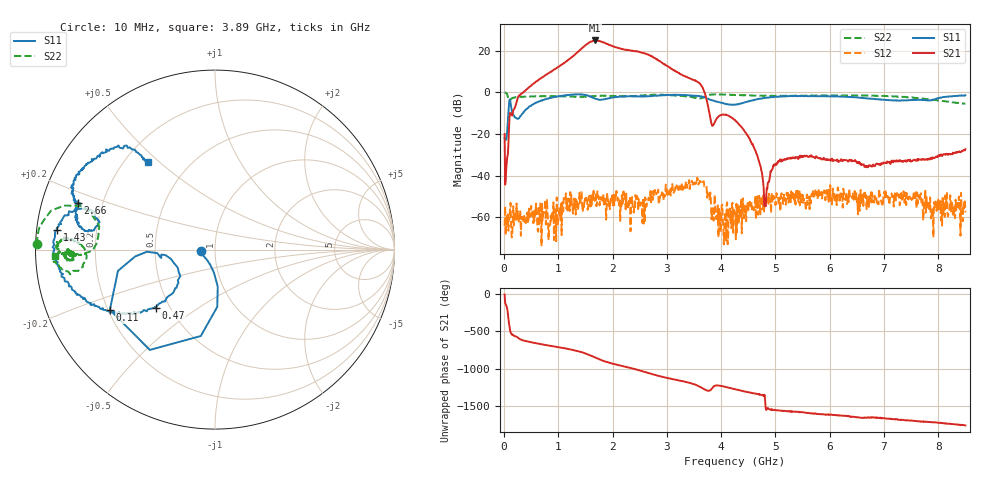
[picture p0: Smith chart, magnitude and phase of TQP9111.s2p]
! TriQuint Semiconductor
! TQP 9111 1.8  2.7 GHz 2 Watt Power Amplifier
! 20-pin 4x4 mm Leadless SMT Package
! The data is for the device in a 50 Ohm system, 2-port file de-embedded to the device leads.
! Device bias: +5V V @ 545 mA Supply Current
! Temperature: 25C
! Date: 06/25/2015
! Lot Code: N/A
!  Port 1 corresponds to Pin 2,3,4 on the TQP9111 (RF input)
!  Port 2 corresponds to Pin 12,13,14 on the TQP9111 (RF Output 2)
!  Pins 18,20 are loaded as shown on the datasheet for the PCB2600 application circuit
! All data in (dB/Angle) format
!Agilent Technologies,E5071C,MY46214511,A.10.06
!Date: Thu Jun 25 17:39:57 2015
!Data & Calibration Information:
!Freq	S11:SOLT2(ON)	S21:SOLT2(ON)	S12:SOLT2(ON)	S22:SOLT2(ON)
!PortZ  Port1:50+j0  Port2:50+j0
!Above PortZ is port z conversion or system Z0 setting when saving the data.
!When reading, reference impedance value at option line is always used.
# Hz S dB R 50
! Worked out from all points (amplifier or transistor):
!   850 points, 10 MHz to 8.5 GHz, reference 50 ohm
!   highest |S21| = 25.0 dB at 1.68 GHz (marker M1)
!   |S21| within 3 dB of that: 1.471 GHz to 2.032 GHz (560.7 MHz wide, 32 % of centre)
!   unconditionally stable (mu >= 1): start of sweep to 1.381 GHz; 1.724 GHz to 2.98 GHz; 3.101 GHz to end of sweep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
!   at 1.42 GHz: K = 0.35, MSG = 34.5 dB, |S12| = -48.0 dB
!   at 4.26 GHz: K = 368.03, MAG = -6.3 dB, |S12| = -58.4 dB
!   at 8.5 GHz: K = 1762.58, MAG = -20.2 dB, |S12| = -57.8 dB
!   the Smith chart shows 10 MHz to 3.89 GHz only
!   S11 on the Smith chart (normalised r, x): 10 MHz: 0.85, -0.01; 110 MHz: 0.21, -0.26; 470 MHz: 0.42, -0.35; 1.43 GHz: 0.06, +0.06; 2.66 GHz: 0.11, +0.16; 3.89 GHz: 0.29, +0.46
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1e7  -21.97 -176.3  -20.05 -10.3  -64.33 170.0  -0.08 178.3
1.1e8  -3.41 -150.2  -9.91 -122.2  -55.84 -166.8  -3.60 177.0
4.7e8  -6.74 -135.4  2.68 79.7  -60.01 92.2  -1.98 -177.3
1.09e9  -1.55 -166.4  13.85 -2.2  -57.11 94.1  -1.99 -178.6
1.27e9  -1.03 -177.2  17.41 -28.2  -58.38 113.2  -1.95 -178.5
1.43e9  -1.03 173.0  21.13 -57.8  -48.14 75.4  -2.18 -177.9
1.57e9  -1.84 164.0  24.07 -94.6  -49.90 82.8  -1.95 -175.6
1.68e9  -3.07 162.6  25.01 -129.9  -51.78 83.1  -1.65 -175.8
1.75e9  -3.48 165.8  24.80 -151.4  -52.16 101.8  -1.53 -177.4
1.83e9  -3.36 170.1  24.11 -173.5  -48.86 92.1  -1.51 -178.1
1.94e9  -2.80 171.8  22.80 162.4  -52.41 74.7  -1.70 -179.6
2.09e9  -2.18 169.3  21.50 134.0  -52.13 67.6  -1.76 179.8
2.38e9  -1.93 162.8  19.90 82.9  -55.46 74.9  -1.68 -178.2
2.66e9  -1.84 161.2  18.21 25.6  -50.96 77.1  -1.24 -179.4
2.84e9  -1.52 159.6  15.50 -11.7  -46.85 70.8  -1.17 178.7
3.07e9  -1.25 155.3  11.51 -49.7  -49.61 63.8  -1.37 176.6
3.5e9  -1.55 141.5  5.94 -123.3  -43.77 36.3  -2.50 177.8
3.89e9  -4.23 127.7  -13.94 -142.5  -53.11 -41.7  -0.98 -177.7
4.26e9  -5.86 135.7  -13.56 169.6  -58.36 71.8  -1.26 174.4
5.67e9  -1.75 122.0  -30.86 -154.7  -48.92 70.3  -1.50 163.4
7.09e9  -3.72 87.9  -33.64 137.2  -51.52 68.4  -1.77 -168.6
8.5e9  -1.41 34.0  -27.29 47.2  -57.75 -23.3  -5.38 157.8
